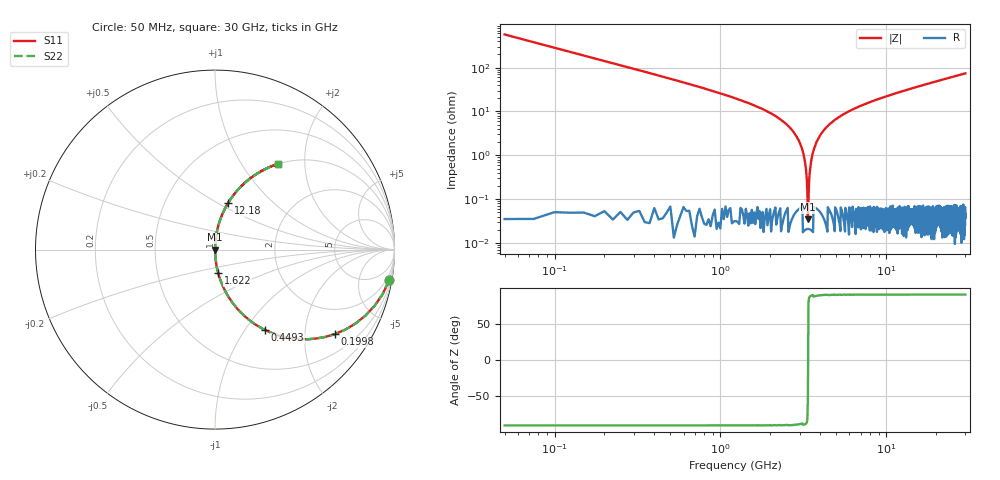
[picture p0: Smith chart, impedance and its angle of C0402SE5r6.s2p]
!	AVX Thin Film Operation 	Date: April 2014
!	Description: Accu-P® Series, Thin Film  SMD RF Capacitor
!	Part Number: 04025J5R6ABSTR
# MHZ S MA R 50
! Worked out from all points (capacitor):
!   1201 points, 50 MHz to 30 GHz, reference 50 ohm
!   read as one part in series: C = 5.6 pF near 199.8 MHz
!   lowest |Z| = 35.1 mohm at 3.369 GHz (marker M1)
!   series resonance near 3.375 GHz, so ESL is about 400 pH
!   S11 on the Smith chart (normalised r, x): 50 MHz: 1, -11; 199.8 MHz: 1.00, -2.84; 449.3 MHz: 1.00, -1.24; 1.622 GHz: 1.00, -0.27; 12.18 GHz: 1.00, +0.56; 30 GHz: 1.00, +1.48
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50  0.985 -10.0  0.173 80.0  0.173 80.0  0.985 -10.0
199.75  0.817 -35.2  0.576 54.8  0.576 54.8  0.817 -35.2
449.333  0.528 -58.1  0.849 31.8  0.849 31.8  0.528 -58.1
848.667  0.299 -72.5  0.954 17.4  0.954 17.4  0.299 -72.5
1622.375  0.133 -82.2  0.991 7.7  0.991 7.7  0.133 -82.2
2820.375  0.03 -87.5  0.999 1.7  0.999 1.7  0.03 -87.5
3094.917  0.015 -87.5  0.999 0.8  0.999 0.8  0.015 -87.5
3269.625  0.005364 -85.2  1 0.3  1 0.3  0.005364 -85.2
3369.458  0.0005066 -34.0  1 0.0  1 0.0  0.0005066 -34.0
3494.25  0.005855 85.6  1 -0.3  1 -0.3  0.005855 85.6
3569.125  0.009422 86.9  1 -0.5  1 -0.5  0.009422 86.9
3668.958  0.014 87.5  0.999 -0.8  0.999 -0.8  0.014 87.5
3918.542  0.025 87.6  0.999 -1.4  0.999 -1.4  0.025 87.6
4367.792  0.044 86.9  0.999 -2.5  0.999 -2.5  0.044 86.9
5041.667  0.069 85.7  0.997 -4.0  0.997 -4.0  0.069 85.7
7013.375  0.133 82.2  0.991 -7.7  0.991 -7.7  0.133 82.2
10058.29  0.217 77.3  0.976 -12.5  0.976 -12.5  0.217 77.3
12179.75  0.27 74.2  0.962 -15.7  0.962 -15.7  0.27 74.2
15025  0.335 70.3  0.942 -19.6  0.942 -19.6  0.335 70.3
20016.67  0.436 64.1  0.899 -25.9  0.899 -25.9  0.436 64.1
25033.29  0.523 58.5  0.852 -31.5  0.852 -31.5  0.523 58.5
30000  0.594 53.5  0.804 -36.5  0.804 -36.5  0.594 53.5
